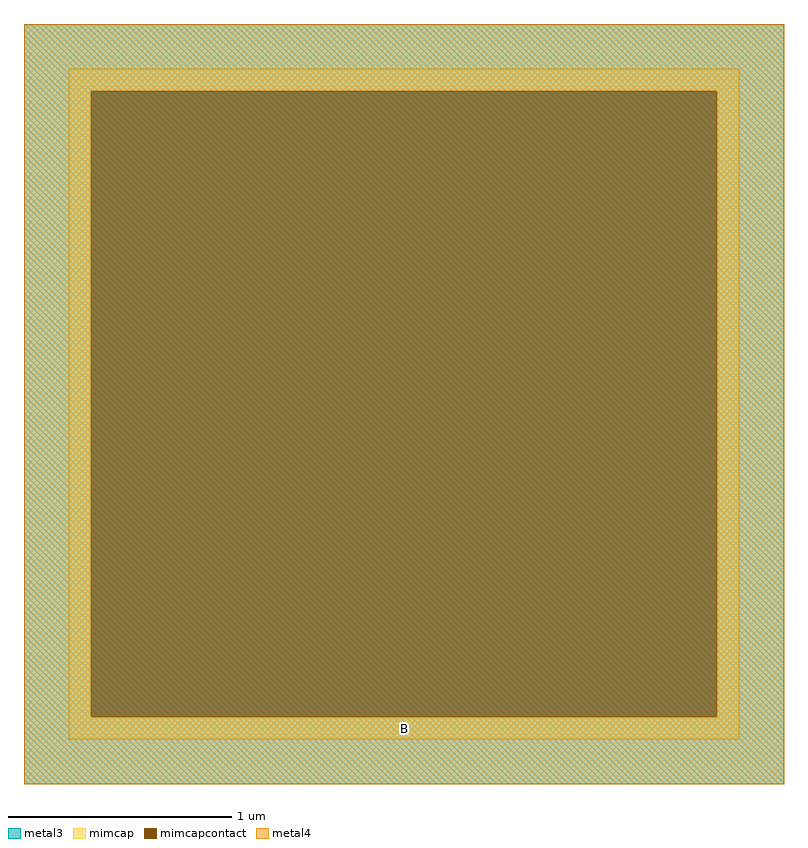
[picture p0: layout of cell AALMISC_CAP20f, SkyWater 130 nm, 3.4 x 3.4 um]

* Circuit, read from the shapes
.subckt AALMISC_CAP20f A B
XC1 B A sky130_fd_pr__cap_mim_m3_1 w=3 l=3
.ends

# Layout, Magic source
magic
tech sky130A
<< metal3 >>
rect 0 0 340 340
<< mimcap >>
rect 20 310 320 320
rect 20 30 30 310
rect 310 30 320 310
rect 20 20 320 30
<< mimcapcontact >>
rect 30 30 310 310
<< metal4 >>
rect 0 310 340 340
rect 0 30 30 310
rect 310 30 340 310
rect 0 0 340 30
<< labels >>
flabel metal4 s 0 0 340 50 0 FreeSans 400 0 0 0 B
port 2 nsew signal bidirectional
flabel metal3 s 0 0 340 50 0 FreeSans 400 0 0 0 A
port 1 nsew signal bidirectional
<< properties >>
string FIXED_BBOX 0 0 340 340
<< end >>
